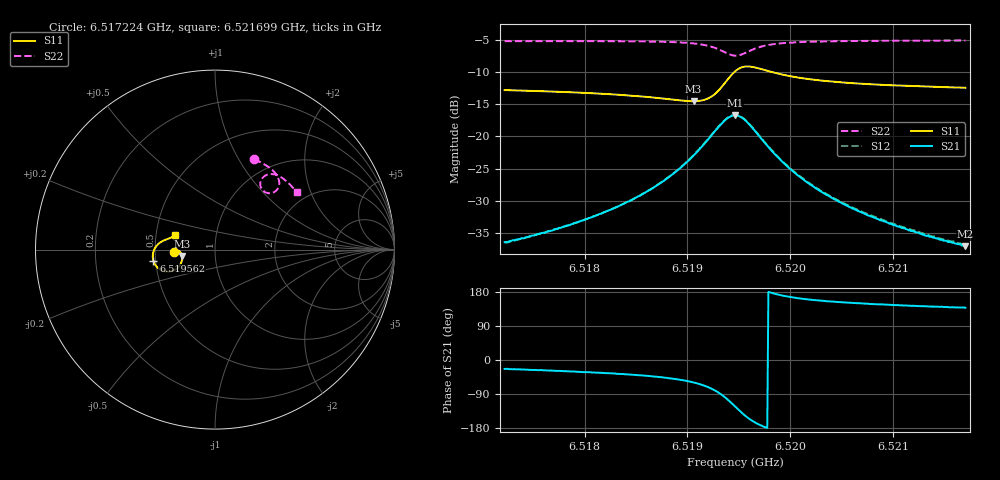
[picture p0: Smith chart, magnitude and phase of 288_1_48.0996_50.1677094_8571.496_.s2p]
#  HZ  S  RI  R  50.00
! Rohde & Schwarz Vector Network Analyzer
! Rohde-Schwarz,ZNB20-2Port,1311601062101988,3.16
! Created: UTC 12/23/2023, 4:03:28 AM
! freq[Hz]  re:S11  im:S11  re:S21  im:S21  re:S12  im:S12  re:S22  im:S22
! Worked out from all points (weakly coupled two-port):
!   401 points, 6.517224 GHz to 6.521699 GHz, reference 50 ohm
!   highest |S21| = -16.73 dB at 6.519461 GHz (marker M1); lowest = -37.0 dB at 6.521699 GHz (marker M2)
!   lowest |S11| = -14.5 dB at 6.519059 GHz (marker M3), VSWR 1.46, Z = 34.4 - j2.51 ohm
!   |S11| at or under -10 dB: start of sweep to 6.519455 GHz; 6.51982 GHz to end of sweep
!   |S22| runs from -7.5 to -5.1 dB; largest |S21 - S12| = 0.0044
!   S11 on the Smith chart (normalised r, x): 6.517224 GHz: 0.63, -0.02; 6.519562 GHz: 0.49, -0.07; 6.521699 GHz: 0.63, +0.11
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6.5172236e9  -0.2288 -0.0125  0.0139 -0.00606  0.0139 -0.00547  0.2192 0.5031
6.5176152e9  -0.224 -0.00699  0.0159 -0.0082  0.0162 -0.00782  0.248 0.4897
6.5179733e9  -0.2183 -0.00336  0.019 -0.0116  0.0193 -0.011  0.2743 0.4754
6.5184544e9  -0.2074 -0.00277  0.025 -0.02  0.0258 -0.0193  0.3106 0.4503
6.518723e9  -0.1983 -0.00804  0.0303 -0.0302  0.0314 -0.0293  0.3317 0.431
6.5188908e9  -0.1912 -0.0168  0.034 -0.0414  0.0355 -0.0405  0.3448 0.4139
6.5190586e9  -0.1844 -0.0353  0.0364 -0.0611  0.0385 -0.0603  0.3559 0.3892
6.5191593e9  -0.1838 -0.0552  0.0335 -0.0801  0.0361 -0.0798  0.3581 0.368
6.5192377e9  -0.19 -0.0772  0.0245 -0.1001  0.0277 -0.1001  0.3536 0.3474
6.5193048e9  -0.2059 -0.0997  0.00705 -0.1191  0.0105 -0.1199  0.3406 0.3287
6.5193719e9  -0.2374 -0.1189  -0.024 -0.1331  -0.0203 -0.1349  0.3161 0.3152
6.5194614e9  -0.2985 -0.1148  -0.0784 -0.1229  -0.0754 -0.1261  0.2735 0.3239
6.5195062e9  -0.3249 -0.0951  -0.0995 -0.1028  -0.0973 -0.1063  0.2585 0.3412
6.5195622e9  -0.3433 -0.0618  -0.1122 -0.0718  -0.111 -0.0755  0.2524 0.3672
6.519674e9  -0.3405 -0.00429  -0.1035 -0.0228  -0.1035 -0.0259  0.2698 0.4047
6.5197971e9  -0.3186 0.0287  -0.0809 0.00167  -0.0817 -0.000563  0.2984 0.4195
6.5199985e9  -0.2893 0.049  -0.0543 0.0131  -0.0553 0.0119  0.3341 0.4183
6.5202111e9  -0.2707 0.057  -0.0387 0.015  -0.0395 0.0141  0.3595 0.4081
6.5205804e9  -0.252 0.0639  -0.0247 0.0136  -0.0255 0.0132  0.3912 0.3868
6.5209608e9  -0.2405 0.0692  -0.0174 0.0119  -0.0181 0.0116  0.4164 0.3641
6.5212965e9  -0.2328 0.0738  -0.0137 0.0105  -0.0141 0.0104  0.4353 0.3435
6.5216993e9  -0.2253 0.0792  -0.0105 0.00944  -0.0109 0.00926  0.4557 0.3185
